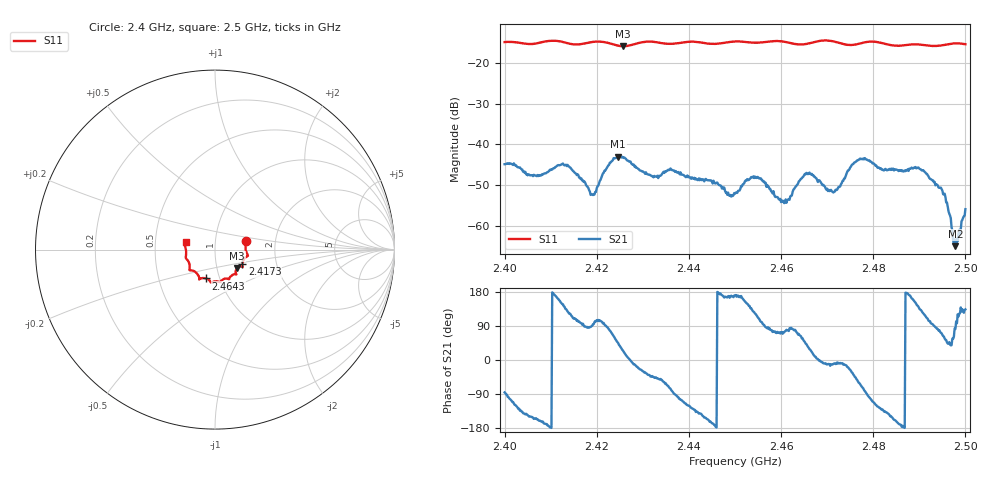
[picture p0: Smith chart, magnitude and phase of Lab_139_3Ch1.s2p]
# Hz S RI R 50
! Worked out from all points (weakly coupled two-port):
!   601 points, 2.4 GHz to 2.5 GHz, reference 50 ohm
!   highest |S21| = -42.98 dB at 2.4247 GHz (marker M1); lowest = -65.0 dB at 2.4978 GHz (marker M2)
!   lowest |S11| = -15.9 dB at 2.4257 GHz (marker M3), VSWR 1.38, Z = 62.5 - j13.1 ohm
!   |S11| at or under -10 dB: start of sweep to end of sweep
!   S12 and S22 are empty: the file has one direction only
!   S11 on the Smith chart (normalised r, x): 2.4 GHz: 1.41, +0.14; 2.4173 GHz: 1.34, -0.23; 2.4643 GHz: 0.86, -0.28; 2.5 GHz: 0.72, +0.06
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2.4e9  0.173 0.0494  0.00045 -0.0057  0 0  0 0
2.407167e9  0.1743 -0.0119  -0.00386 -0.00168  0 0  0 0
2.412833e9  0.175 -0.0399  -0.00445 0.00344  0 0  0 0
2.416667e9  0.153 -0.0746  -0.000448 0.00379  0 0  0 0
2.417333e9  0.1524 -0.0818  0.000113 0.00351  0 0  0 0
2.419333e9  0.1538 -0.096  -0.000194 0.00244  0 0  0 0
2.424667e9  0.131 -0.0963  0.00508 0.00495  0 0  0 0
2.425667e9  0.1228 -0.1024  0.00629 0.00294  0 0  0 0
2.433333e9  0.1131 -0.1369  0.00251 -0.00293  0 0  0 0
2.436333e9  0.0919 -0.1449  0.000676 -0.00479  0 0  0 0
2.45e9  0.0295 -0.1808  -0.00245 0.000404  0 0  0 0
2.4545e9  0.00607 -0.1765  -0.00202 0.00334  0 0  0 0
2.460833e9  -0.0257 -0.1792  0.000481 0.00187  0 0  0 0
2.464333e9  -0.0501 -0.1606  0.00176 0.00336  0 0  0 0
2.466667e9  -0.0759 -0.1598  0.00405 0.00161  0 0  0 0
2.471167e9  -0.0873 -0.1622  0.00256 -0.000551  0 0  0 0
2.477e9  -0.1269 -0.1164  0.00315 -0.0057  0 0  0 0
2.483333e9  -0.1409 -0.09  -0.00385 -0.00297  0 0  0 0
2.489667e9  -0.1629 -0.0425  -0.00415 0.00312  0 0  0 0
2.494333e9  -0.1624 0.00215  0.000564 0.00288  0 0  0 0
2.497833e9  -0.171 0.0307  7.94e-05 0.000558  0 0  0 0
2.5e9  -0.164 0.0426  -0.00111 0.00116  0 0  0 0
